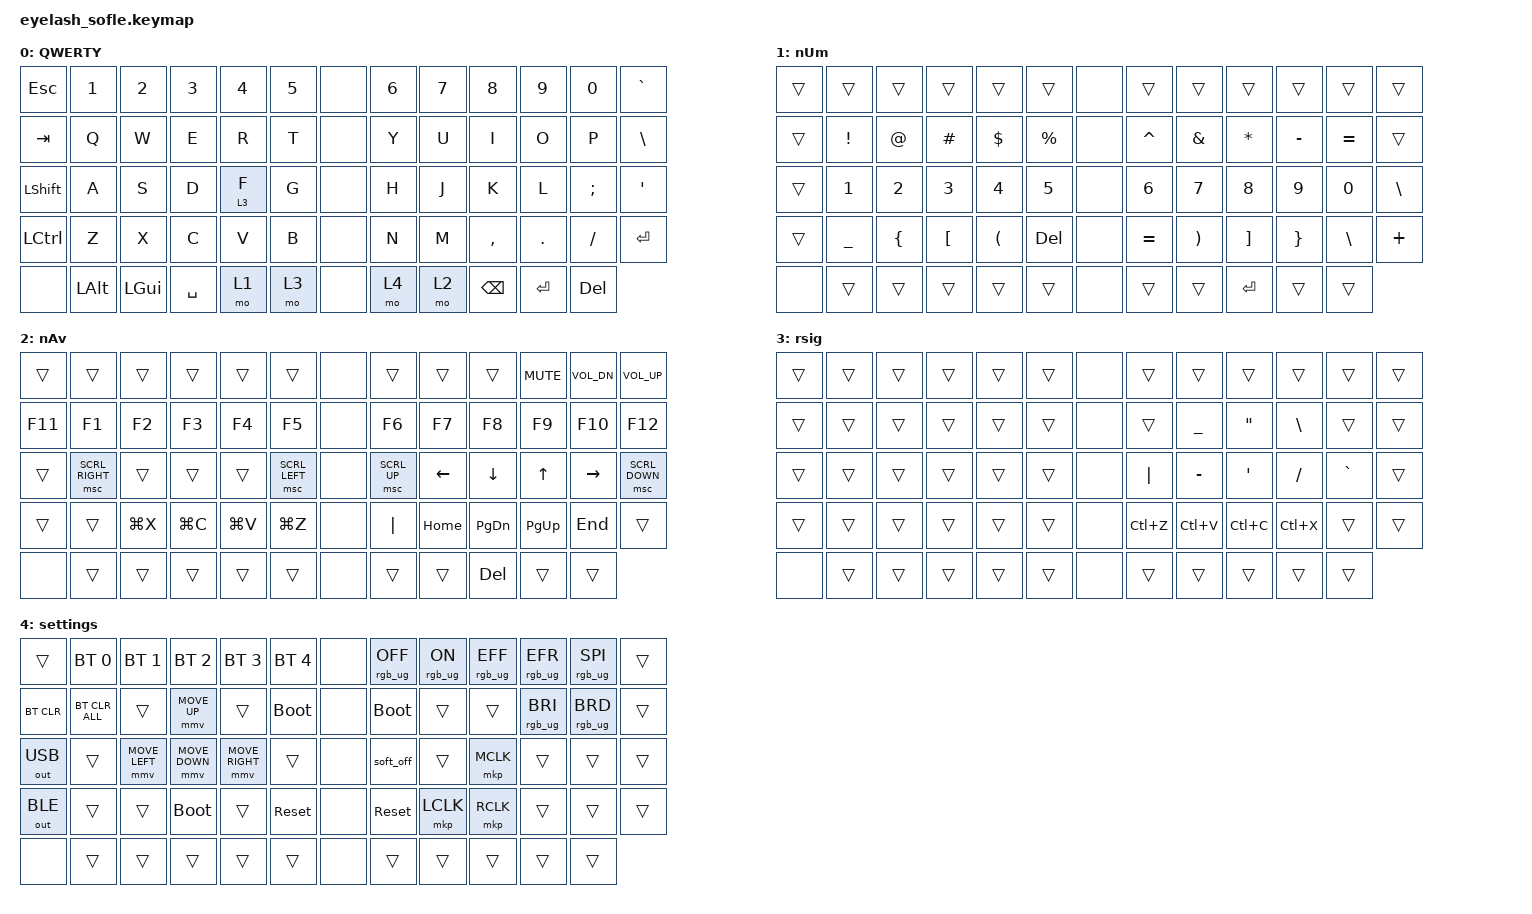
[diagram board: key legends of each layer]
#define ZMK_POINTING_DEFAULT_MOVE_VAL 1200  // 600
#define ZMK_POINTING_DEFAULT_SCRL_VAL 25   // 10

#include <input/processors.dtsi>
#include <zephyr/dt-bindings/input/input-event-codes.h>
#include <behaviors.dtsi>
#include <dt-bindings/zmk/bt.h>
#include <dt-bindings/zmk/keys.h>
#include <dt-bindings/zmk/outputs.h>
#include <dt-bindings/zmk/pointing.h>
#include <dt-bindings/zmk/rgb.h>

&mmv_input_listener { input-processors = <&zip_xy_scaler 2 1>; };

&msc_input_listener { input-processors = <&zip_scroll_scaler 2 1>; };

&msc {
    acceleration-exponent = <1>;      // 0
    time-to-max-speed-ms = <100>;       // 300
    delay-ms = <0>;                   // 0
};

&mmv {
    time-to-max-speed-ms = <500>;
    acceleration-exponent = <1>;
    trigger-period-ms = <16>;
};


&lt {
    tapping-term-ms = <150>; // default 200
};


&soft_off { hold-time-ms = <2000>; };


/ {
    scroll_encoder: scroll_encoder {
        compatible = "zmk,behavior-sensor-rotate";
        #sensor-binding-cells = <0>;
        bindings = <&msc SCRL_DOWN>, <&msc SCRL_UP>;

        tap-ms = <100>;
    };

    behaviors {
    };

    combos {
        compatible = "zmk,combos";

        softoff {
            bindings = <&soft_off>;
            key-positions = <14 28 40>;
        };
    };

    macros {
        SHIFT_MCLK: SHIFT_MCLK {
            compatible = "zmk,behavior-macro";
            #binding-cells = <0>;
            bindings =
                <&macro_press>,
                <&kp LEFT_SHIFT>,
                <&macro_press>,
                <&mkp MB3>,
                <&macro_pause_for_release>,
                <&macro_release>,
                <&kp LEFT_SHIFT &mkp MB3>;

            label = "SHIFT_MCLK";
        };
    };

    keymap {
        compatible = "zmk,keymap";

        layer_0 {
            bindings = <
&kp ESC     &kp N1        &kp N2           &kp N3        &kp N4       &kp N5      &none       &kp N6     &kp N7      &kp N8         &kp N9       &kp N0      &kp GRAVE
&kp TAB     &kp Q        &kp W            &kp E         &kp R        &kp T       &none       &kp Y      &kp U       &kp I          &kp O        &kp P       &kp BSLH
&kp LSHFT   &kp A        &kp S            &kp D         &lt 3 F      &kp G       &none       &kp H      &kp J       &kp K          &kp L        &kp SEMI    &kp APOS
&kp LCTRL   &kp Z        &kp X            &kp C         &kp V        &kp B       &none       &kp N      &kp M       &kp COMMA      &kp DOT      &kp FSLH    &kp ENTER
&none       &kp LEFT_ALT    &kp LEFT_GUI    &kp SPACE    &mo 1        &mo 3        &none    &mo 4        &mo 2    &kp BACKSPACE    &kp ENTER    &kp DELETE    
            >;

            display-name = "QWERTY";
        };

        layer_1 {
            bindings = <
&trans      &trans      &trans      &trans      &trans      &trans      &none   &trans      &trans      &trans      &trans      &trans      &trans
&trans      &kp EXCL    &kp AT      &kp HASH    &kp DLLR    &kp PRCNT   &none   &kp CARET   &kp AMPS    &kp STAR    &kp MINUS   &kp EQUAL   &trans
&trans      &kp N1      &kp N2      &kp N3      &kp N4      &kp N5      &none   &kp N6      &kp N7      &kp N8      &kp N9      &kp N0      &kp BSLH
&trans      &kp UNDER   &kp LBRC    &kp LBKT    &kp LPAR    &kp DEL     &none   &kp EQUAL   &kp RPAR    &kp RBKT    &kp RBRC    &kp BSLH    &kp PLUS
&none       &trans      &trans      &trans      &trans      &trans      &none   &trans      &trans      &kp ENTER   &trans      &trans
            >;

            display-name = "nUm";
        };

        layer_2 {
            bindings = <
&trans      &trans          &trans        &trans     &trans         &trans          &none       &trans          &trans        &trans        &kp C_MUTE    &kp C_VOL_DN      &kp C_VOL_UP
&kp F11     &kp F1          &kp F2        &kp F3     &kp F4         &kp F5          &none       &kp F6          &kp F7        &kp F8        &kp F9        &kp F10           &kp F12      
&trans      &msc SCRL_RIGHT &trans        &trans     &trans         &msc SCRL_LEFT  &none       &msc SCRL_UP    &kp LEFT      &kp DOWN      &kp UP        &kp RIGHT         &msc SCRL_DOWN	
&trans      &trans          &kp LG(X)     &kp LG(C)  &kp LG(V)      &kp LG(Z)       &none       &kp PIPE        &kp HOME      &kp PG_DN     &kp PG_UP     &kp END           &trans
&none       &trans          &trans        &trans     &trans         &trans          &none       &trans          &trans        &kp DEL       &trans        &trans
            >;


            display-name = "nAv";
        };

        layer_3 {
            bindings = <
&trans      &trans      &trans        &trans     &trans         &trans         &none       &trans       &trans        &trans        &trans        &trans       &trans
&trans      &trans      &trans        &trans     &trans         &trans         &none       &trans       &kp UNDER     &kp DQT       &kp BSLH      &trans       &trans
&trans      &trans      &trans        &trans     &trans         &trans         &none       &kp PIPE     &kp MINUS     &kp APOS      &kp FSLH      &kp GRAVE    &trans
&trans      &trans      &trans        &trans     &trans         &trans         &none       &kp LC(Z)    &kp LC(V)     &kp LC(C)     &kp LC(X)     &trans       &trans
&none       &trans      &trans        &trans     &trans         &trans         &none       &trans       &trans        &trans        &trans        &trans     
            >;

            display-name = "rsig";
        };

        layer_4 {
            bindings = <
&trans        &bt BT_SEL 0      &bt BT_SEL 1    &bt BT_SEL 2    &bt BT_SEL 3    &bt BT_SEL 4    &none   &rgb_ug RGB_OFF   &rgb_ug RGB_ON  &rgb_ug RGB_EFF  &rgb_ug RGB_EFR  &rgb_ug RGB_SPI   &trans
&bt BT_CLR    &bt BT_CLR_ALL    &trans          &mmv MOVE_UP    &trans          &bootloader     &none   &bootloader       &trans          &trans           &rgb_ug RGB_BRI  &rgb_ug RGB_BRD   &trans
&out OUT_USB  &trans            &mmv MOVE_LEFT  &mmv MOVE_DOWN  &mmv MOVE_RIGHT &trans          &none   &soft_off         &trans          &mkp MCLK        &trans           &trans            &trans
&out OUT_BLE  &trans            &trans          &bootloader     &trans          &sys_reset      &none   &sys_reset        &mkp LCLK       &mkp RCLK        &trans           &trans            &trans
&none         &trans            &trans          &trans          &trans          &trans          &none   &trans            &trans          &trans           &trans           &trans
            >;

            display-name = "settings";
        };
    };
};


